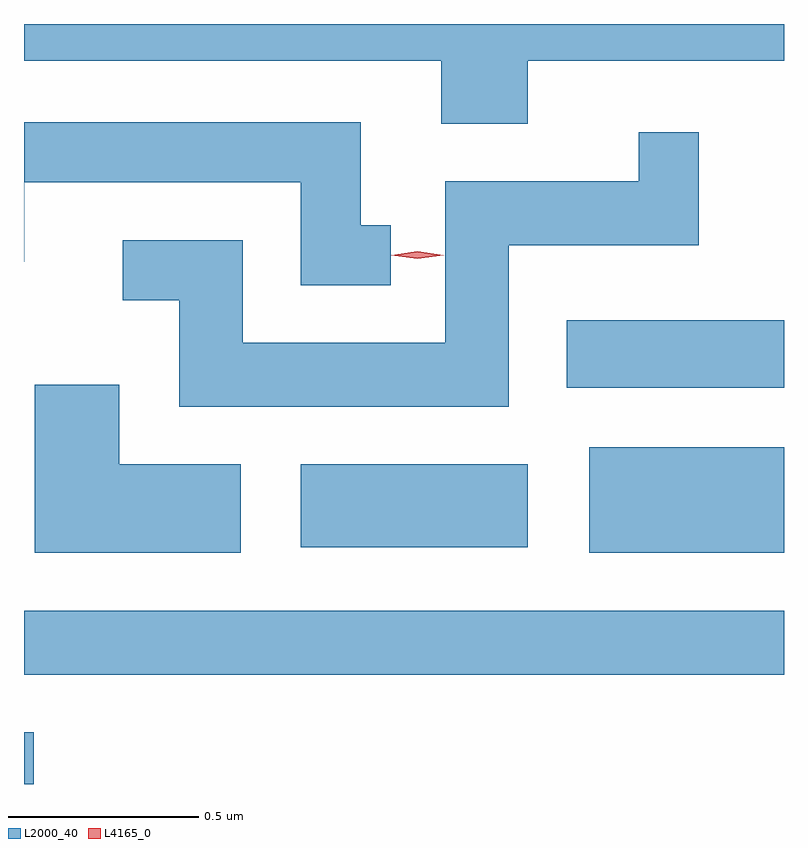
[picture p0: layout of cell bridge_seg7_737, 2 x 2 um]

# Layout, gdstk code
import gdstk
lib = gdstk.Library(unit=1e-6, precision=1e-09)
def R(c, l, rs):  # rectangles x0, y0, x1, y1
    for r in rs: c.add(gdstk.rectangle(r[:2], r[2:], *l))
def P(c, l, *ps):  # polygons
    for p in ps: c.add(gdstk.Polygon(p, *l))
L2000_40 = (2000, 40)
L4165_0 = (4165, 0)

bridge_seg7_737 = lib.new_cell('bridge_seg7_737')
R(bridge_seg7_737, L2000_40, [(548.693,1739.053,548.719,1739.189), (548.693,1739.341,550.693,1739.509), (550.181,1739.661,550.693,1739.939), (549.421,1739.676,550.019,1739.894), (550.121,1740.096,550.693,1740.274)])
P(bridge_seg7_737, L2000_40, [(550.019,1740.956),(550.693,1740.956),(550.693,1741.053),(548.693,1741.053),(548.693,1740.956),(549.791,1740.956),(549.791,1740.791),(550.019,1740.791)],
  [(549.658,1740.524),(549.579,1740.524),(549.579,1740.794),(548.693,1740.794),(548.693,1740.428),(548.694,1740.428),(548.694,1740.636),(549.421,1740.636),(549.421,1740.366),(549.658,1740.366)],
  [(549.969,1740.471),(550.469,1740.471),(550.469,1740.768),(550.311,1740.768),(550.311,1740.639),(549.801,1740.639),(549.801,1740.214),(549.269,1740.214),(549.269,1740.484),(548.953,1740.484),(548.953,1740.326),(549.101,1740.326),(549.101,1740.046),(549.969,1740.046)],
  [(549.264,1739.894),(548.944,1739.894),(548.944,1740.104),(548.721,1740.104),(548.721,1739.661),(549.264,1739.661)])
P(bridge_seg7_737, L4165_0, [(549.728,1740.435),(549.659,1740.444),(549.659,1740.445),(549.659,1740.445),(549.728,1740.455),(549.798,1740.445),(549.798,1740.445),(549.798,1740.444)])

lib.write_gds('bridge_seg7_737.gds')
